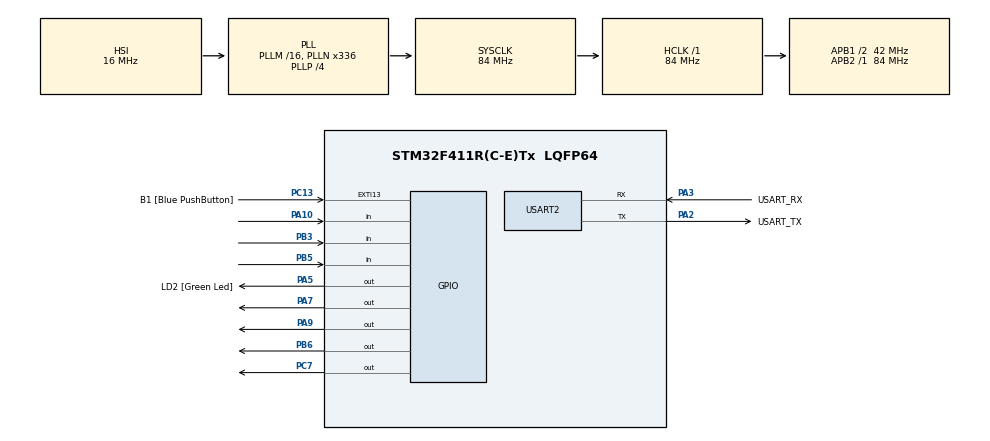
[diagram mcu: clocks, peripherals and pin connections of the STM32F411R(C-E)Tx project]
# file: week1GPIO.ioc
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Mcu.Family=STM32F4
Mcu.Name=STM32F411R(C-E)Tx
Mcu.Package=LQFP64
NVIC.PriorityGroup=NVIC_PRIORITYGROUP_0
PA10.Signal=GPIO_Input
PA13.GPIO_Label=TMS
PA13.Mode=Serial_Wire
PA13.Signal=SYS_JTMS-SWDIO
PA14.GPIO_Label=TCK
PA14.Mode=Serial_Wire
PA14.Signal=SYS_JTCK-SWCLK
PA2.GPIO_Label=USART_TX
PA2.Mode=Asynchronous
PA2.Signal=USART2_TX
PA3.GPIO_Label=USART_RX
PA3.Mode=Asynchronous
PA3.Signal=USART2_RX
PA5.GPIO_Label=LD2 [Green Led]
PA5.Signal=GPIO_Output
PA7.Signal=GPIO_Output
PA9.Signal=GPIO_Output
PB3.Signal=GPIO_Input
PB5.Signal=GPIO_Input
PB6.Signal=GPIO_Output
PC13-ANTI_TAMP.GPIO_Label=B1 [Blue PushButton]
PC13-ANTI_TAMP.GPIO_ModeDefaultEXTI=GPIO_MODE_IT_FALLING
PC13-ANTI_TAMP.Signal=GPXTI13
PC14-OSC32_IN.Mode=LSE-External-Oscillator
PC14-OSC32_IN.Signal=RCC_OSC32_IN
PC15-OSC32_OUT.Mode=LSE-External-Oscillator
PC15-OSC32_OUT.Signal=RCC_OSC32_OUT
PC7.Signal=GPIO_Output
PH0\ -\ OSC_IN.Mode=HSE-External-Clock-Source
PH0\ -\ OSC_IN.Signal=RCC_OSC_IN
PH1\ -\ OSC_OUT.Mode=HSE-External-Clock-Source
PH1\ -\ OSC_OUT.Signal=RCC_OSC_OUT
ProjectManager.HeapSize=0x200
ProjectManager.StackSize=0x400
ProjectManager.TargetToolchain=STM32CubeIDE
RCC.48MHZClocksFreq_Value=84000000
RCC.AHBFreq_Value=84000000
RCC.APB1CLKDivider=RCC_HCLK_DIV2
RCC.APB1Freq_Value=42000000
RCC.APB1TimFreq_Value=84000000
RCC.APB2Freq_Value=84000000
RCC.APB2TimFreq_Value=84000000
RCC.CortexFreq_Value=84000000
RCC.FLatency-AdvancedSettings=FLASH_LATENCY_2
RCC.HCLKFreq_Value=84000000
RCC.HSE_VALUE=8000000
RCC.HSI_VALUE=16000000
RCC.PLLN=336
RCC.PLLP=RCC_PLLP_DIV4
RCC.SYSCLKFreq_VALUE=84000000
RCC.SYSCLKSource=RCC_SYSCLKSOURCE_PLLCLK
RCC.VCOOutputFreq_Value=336000000
USART2.VirtualMode=VM_ASYNC
board=NUCLEO-F411RE

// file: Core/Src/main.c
/* USER CODE BEGIN Header */
/**
 ******************************************************************************
 * @file           : main.c
 * @brief          : Main program body
 ******************************************************************************
 * @attention
 *
 * <h2><center>&copy; Copyright (c) 2021 STMicroelectronics.
 * All rights reserved.</center></h2>
 *
 * This software component is licensed by ST under BSD 3-Clause license,
 * the "License"; You may not use this file except in compliance with the
 * License. You may obtain a copy of the License at:
 *                        opensource.org/licenses/BSD-3-Clause
 *
 ******************************************************************************
 */
/* USER CODE END Header */
#include "main.h"

UART_HandleTypeDef huart2;

void SystemClock_Config(void);
static void MX_GPIO_Init(void);
static void MX_USART2_UART_Init(void);

int main(void) {

	/* MCU Configuration--------------------------------------------------------*/

	/* Reset of all peripherals, Initializes the Flash interface and the Systick. */
	HAL_Init();

	/* Configure the system clock */
	SystemClock_Config();

	/* Initialize all configured peripherals */
	MX_GPIO_Init();
	MX_USART2_UART_Init();
	/* USER CODE BEGIN 2 */
	GPIO_PinState SwitchState[2]; //NOW,LAST
	GPIO_PinState SwitchState1[2];
	GPIO_PinState SwitchState2[2];
	uint16_t LED1_HalfPeriod = 500; //1Hz
	uint16_t LED3_TimeRelay = 500; // 0.5 s
	uint32_t TimeStamp = 0;
	uint32_t TimeStamp2 = 0;
	uint32_t ButtonTimeStamp = 0;
	int CountLab1 = 0;
	int CountTime = 1;
	/* USER CODE END 2 */

	/* Infinite loop */
	while (1) {

		/* USER CODE BEGIN 3 */
		//lab 1.1
		if (HAL_GetTick() - ButtonTimeStamp >= 100) //ms
				{

			ButtonTimeStamp = HAL_GetTick();
			//swith press is LOW
			SwitchState[0] = HAL_GPIO_ReadPin(GPIOA, GPIO_PIN_10);
			if (SwitchState[1] == GPIO_PIN_SET
					&& SwitchState[0] == GPIO_PIN_RESET) {
				//Change Half Period of LED 1

				if (CountLab1 == 0) {
					LED1_HalfPeriod = 1000; //0.5 Hz
					CountLab1 = 1;
				} else if (CountLab1 == 1) {
					LED1_HalfPeriod = 500; //1 Hz
					CountLab1 = 2;
				} else if (CountLab1 == 2) {
					LED1_HalfPeriod = 250; //2 Hz
					CountLab1 = 3;
				} else if (CountLab1 == 3) {
					LED1_HalfPeriod = 167; // 3Hz
					CountLab1 = 1;
				}

			}
			SwitchState[1] = SwitchState[0];
		}

		//lab1.2

		SwitchState1[0] = HAL_GPIO_ReadPin(GPIOB, GPIO_PIN_3);
		if (SwitchState1[1] == GPIO_PIN_SET
				&& SwitchState1[0] == GPIO_PIN_RESET) {
			if (HAL_GPIO_ReadPin(GPIOC, GPIO_PIN_7) == GPIO_PIN_SET) {
				HAL_GPIO_WritePin(GPIOC, GPIO_PIN_7, GPIO_PIN_RESET);
			} else {
				HAL_GPIO_WritePin(GPIOC, GPIO_PIN_7, GPIO_PIN_SET);
			}
		}
		SwitchState1[1] = SwitchState1[0];

		//Run LED
		if (HAL_GetTick() - TimeStamp >= LED1_HalfPeriod) {
			TimeStamp = HAL_GetTick();
			if (HAL_GPIO_ReadPin(GPIOA, GPIO_PIN_9) == GPIO_PIN_SET) {
				HAL_GPIO_WritePin(GPIOA, GPIO_PIN_9, GPIO_PIN_RESET);
			} else {
				HAL_GPIO_WritePin(GPIOA, GPIO_PIN_9, GPIO_PIN_SET);
			}
		}
		//lab1.3
		SwitchState2[0] = HAL_GPIO_ReadPin(GPIOB, GPIO_PIN_5);
		if (SwitchState2[1] == GPIO_PIN_SET
				&& SwitchState2[0] == GPIO_PIN_RESET) {
			if (CountTime == 1) {
				CountTime = 2;
				LED3_TimeRelay = 1500;
				HAL_GPIO_WritePin(GPIOA, GPIO_PIN_7, GPIO_PIN_RESET);
			} else {
				CountTime = 1;
				LED3_TimeRelay = 500;
				HAL_GPIO_WritePin(GPIOA, GPIO_PIN_7, GPIO_PIN_SET);
			}
		}
		SwitchState2[1] = SwitchState2[0];
		//RunLED1.3
		if (HAL_GetTick() - TimeStamp2 >= LED3_TimeRelay) {
			TimeStamp2 = HAL_GetTick();
			if (CountTime == 1) //on 0.5 off 1.5
					{
				if (HAL_GPIO_ReadPin(GPIOB, GPIO_PIN_6) == GPIO_PIN_SET) {
					LED3_TimeRelay = 1500;
					HAL_GPIO_WritePin(GPIOB, GPIO_PIN_6, GPIO_PIN_RESET);
				} else if (HAL_GPIO_ReadPin(GPIOB, GPIO_PIN_6)
						== GPIO_PIN_RESET) {
					LED3_TimeRelay = 500;
					HAL_GPIO_WritePin(GPIOB, GPIO_PIN_6, GPIO_PIN_SET);
				}
			} else if (CountTime == 2) //on 1.5 off 0.5
					{
				if (HAL_GPIO_ReadPin(GPIOB, GPIO_PIN_6) == GPIO_PIN_SET) {
					LED3_TimeRelay = 500;
					HAL_GPIO_WritePin(GPIOB, GPIO_PIN_6, GPIO_PIN_RESET);
				} else if (HAL_GPIO_ReadPin(GPIOB, GPIO_PIN_6)
						== GPIO_PIN_RESET) {
					LED3_TimeRelay = 1500;
					HAL_GPIO_WritePin(GPIOB, GPIO_PIN_6, GPIO_PIN_SET);
				}
			}
		}

	}
	/* USER CODE END 3 */
}

void SystemClock_Config(void) {
	RCC_OscInitTypeDef RCC_OscInitStruct = { 0 };
	RCC_ClkInitTypeDef RCC_ClkInitStruct = { 0 };

	/** Configure the main internal regulator output voltage
	 */
	__HAL_RCC_PWR_CLK_ENABLE();
	__HAL_PWR_VOLTAGESCALING_CONFIG(PWR_REGULATOR_VOLTAGE_SCALE1);
	/** Initializes the RCC Oscillators according to the specified parameters
	 * in the RCC_OscInitTypeDef structure.
	 */
	RCC_OscInitStruct.OscillatorType = RCC_OSCILLATORTYPE_HSI;
	RCC_OscInitStruct.HSIState = RCC_HSI_ON;
	RCC_OscInitStruct.HSICalibrationValue = RCC_HSICALIBRATION_DEFAULT;
	RCC_OscInitStruct.PLL.PLLState = RCC_PLL_ON;
	RCC_OscInitStruct.PLL.PLLSource = RCC_PLLSOURCE_HSI;
	RCC_OscInitStruct.PLL.PLLM = 16;
	RCC_OscInitStruct.PLL.PLLN = 336;
	RCC_OscInitStruct.PLL.PLLP = RCC_PLLP_DIV4;
	RCC_OscInitStruct.PLL.PLLQ = 4;
	if (HAL_RCC_OscConfig(&RCC_OscInitStruct) != HAL_OK) {
		Error_Handler();
	}
	/** Initializes the CPU, AHB and APB buses clocks
	 */
	RCC_ClkInitStruct.ClockType = RCC_CLOCKTYPE_HCLK | RCC_CLOCKTYPE_SYSCLK
			| RCC_CLOCKTYPE_PCLK1 | RCC_CLOCKTYPE_PCLK2;
	RCC_ClkInitStruct.SYSCLKSource = RCC_SYSCLKSOURCE_PLLCLK;
	RCC_ClkInitStruct.AHBCLKDivider = RCC_SYSCLK_DIV1;
	RCC_ClkInitStruct.APB1CLKDivider = RCC_HCLK_DIV2;
	RCC_ClkInitStruct.APB2CLKDivider = RCC_HCLK_DIV1;

	if (HAL_RCC_ClockConfig(&RCC_ClkInitStruct, FLASH_LATENCY_2) != HAL_OK) {
		Error_Handler();
	}
}

static void MX_USART2_UART_Init(void) {

	huart2.Instance = USART2;
	huart2.Init.BaudRate = 115200;
	huart2.Init.WordLength = UART_WORDLENGTH_8B;
	huart2.Init.StopBits = UART_STOPBITS_1;
	huart2.Init.Parity = UART_PARITY_NONE;
	huart2.Init.Mode = UART_MODE_TX_RX;
	huart2.Init.HwFlowCtl = UART_HWCONTROL_NONE;
	huart2.Init.OverSampling = UART_OVERSAMPLING_16;
	if (HAL_UART_Init(&huart2) != HAL_OK) {
		Error_Handler();
	}

}

static void MX_GPIO_Init(void) {
	GPIO_InitTypeDef GPIO_InitStruct = { 0 };

	/* GPIO Ports Clock Enable */
	__HAL_RCC_GPIOC_CLK_ENABLE();
	__HAL_RCC_GPIOH_CLK_ENABLE();
	__HAL_RCC_GPIOA_CLK_ENABLE();
	__HAL_RCC_GPIOB_CLK_ENABLE();

	/*Configure GPIO pin Output Level */
	HAL_GPIO_WritePin(GPIOA, LD2_Pin | GPIO_PIN_7 | GPIO_PIN_9, GPIO_PIN_RESET);

	/*Configure GPIO pin Output Level */
	HAL_GPIO_WritePin(GPIOC, GPIO_PIN_7, GPIO_PIN_RESET);

	/*Configure GPIO pin Output Level */
	HAL_GPIO_WritePin(GPIOB, GPIO_PIN_6, GPIO_PIN_RESET);

	/*Configure GPIO pin : B1_Pin */
	GPIO_InitStruct.Pin = B1_Pin;
	GPIO_InitStruct.Mode = GPIO_MODE_IT_FALLING;
	GPIO_InitStruct.Pull = GPIO_NOPULL;
	HAL_GPIO_Init(B1_GPIO_Port, &GPIO_InitStruct);

	/*Configure GPIO pins : LD2_Pin PA7 PA9 */
	GPIO_InitStruct.Pin = LD2_Pin | GPIO_PIN_7 | GPIO_PIN_9;
	GPIO_InitStruct.Mode = GPIO_MODE_OUTPUT_PP;
	GPIO_InitStruct.Pull = GPIO_NOPULL;
	GPIO_InitStruct.Speed = GPIO_SPEED_FREQ_LOW;
	HAL_GPIO_Init(GPIOA, &GPIO_InitStruct);

	/*Configure GPIO pin : PC7 */
	GPIO_InitStruct.Pin = GPIO_PIN_7;
	GPIO_InitStruct.Mode = GPIO_MODE_OUTPUT_PP;
	GPIO_InitStruct.Pull = GPIO_NOPULL;
	GPIO_InitStruct.Speed = GPIO_SPEED_FREQ_LOW;
	HAL_GPIO_Init(GPIOC, &GPIO_InitStruct);

	/*Configure GPIO pin : PA10 */
	GPIO_InitStruct.Pin = GPIO_PIN_10;
	GPIO_InitStruct.Mode = GPIO_MODE_INPUT;
	GPIO_InitStruct.Pull = GPIO_NOPULL;
	HAL_GPIO_Init(GPIOA, &GPIO_InitStruct);

	/*Configure GPIO pins : PB3 PB5 */
	GPIO_InitStruct.Pin = GPIO_PIN_3 | GPIO_PIN_5;
	GPIO_InitStruct.Mode = GPIO_MODE_INPUT;
	GPIO_InitStruct.Pull = GPIO_NOPULL;
	HAL_GPIO_Init(GPIOB, &GPIO_InitStruct);

	/*Configure GPIO pin : PB6 */
	GPIO_InitStruct.Pin = GPIO_PIN_6;
	GPIO_InitStruct.Mode = GPIO_MODE_OUTPUT_PP;
	GPIO_InitStruct.Pull = GPIO_NOPULL;
	GPIO_InitStruct.Speed = GPIO_SPEED_FREQ_LOW;
	HAL_GPIO_Init(GPIOB, &GPIO_InitStruct);

}

void Error_Handler(void) {
	__disable_irq();
	while (1) {
	}
}

/************************ (C) COPYRIGHT STMicroelectronics *****END OF FILE****/
